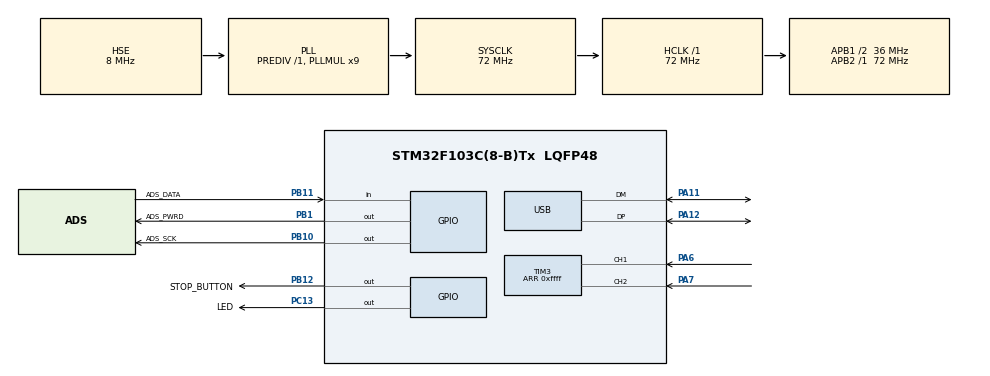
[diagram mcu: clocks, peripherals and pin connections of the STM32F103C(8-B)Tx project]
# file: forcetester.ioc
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FREERTOS.Queues01=startStopEventQueue,8,StartStopEvent,NULL,Dynamic,NULL,NULL
FREERTOS.Tasks01=ledTask,0,128,ledDefaultTask,Default,NULL,Dynamic,NULL,NULL;adsPooling,0,256,adsTask,Default,NULL,Dynamic,NULL,NULL;stopDiffDetect,0,128,stopDiffDetectButtonTask,Default,NULL,Dynamic,NULL,NULL;strtStpLinDetec,0,128,startStopLinearDetectTask,Default,NULL,Dynamic,NULL,NULL;serialOutput,0,256,serialOutputTask,Default,NULL,Dynamic,NULL,NULL;relayClickTask,0,128,relayTask,Default,NULL,Dynamic,NULL,NULL
FREERTOS.configTOTAL_HEAP_SIZE=6000
Mcu.Family=STM32F1
Mcu.Name=STM32F103C(8-B)Tx
Mcu.Package=LQFP48
NVIC.PriorityGroup=NVIC_PRIORITYGROUP_4
NVIC.TIM2_IRQn=true\:0\:0\:false\:false\:true\:false
NVIC.TIM3_IRQn=true\:6\:0\:true\:false\:true\:true
NVIC.TimeBase=TIM2_IRQn
NVIC.TimeBaseIP=TIM2
NVIC.USB_HP_CAN1_TX_IRQn=true\:5\:0\:false\:false\:true\:true
NVIC.USB_LP_CAN1_RX0_IRQn=true\:5\:0\:false\:false\:true\:true
PA11.Mode=Device
PA11.Signal=USB_DM
PA12.Mode=Device
PA12.Signal=USB_DP
PA13.Mode=Serial_Wire
PA13.Signal=SYS_JTMS-SWDIO
PA14.Mode=Serial_Wire
PA14.Signal=SYS_JTCK-SWCLK
PA6.GPIO_PuPd=GPIO_PULLUP
PA6.Signal=S_TIM3_CH1
PA7.GPIO_PuPd=GPIO_PULLUP
PA7.Signal=S_TIM3_CH2
PB1.GPIO_Label=ADS_PWRD
PB1.GPIO_Speed=GPIO_SPEED_FREQ_HIGH
PB1.PinState=GPIO_PIN_RESET
PB1.Signal=GPIO_Output
PB10.GPIO_Label=ADS_SCK
PB10.GPIO_Speed=GPIO_SPEED_FREQ_HIGH
PB10.Signal=GPIO_Output
PB11.GPIO_Label=ADS_DATA
PB11.GPIO_PuPd=GPIO_PULLUP
PB11.Signal=GPIO_Input
PB12.GPIO_Label=STOP_BUTTON
PB12.GPIO_Speed=GPIO_SPEED_FREQ_HIGH
PB12.Signal=GPIO_Output
PC13-TAMPER-RTC.GPIO_Label=LED
PC13-TAMPER-RTC.GPIO_Speed=GPIO_SPEED_FREQ_HIGH
PC13-TAMPER-RTC.Signal=GPIO_Output
PD0-OSC_IN.Mode=HSE-External-Oscillator
PD0-OSC_IN.Signal=RCC_OSC_IN
PD1-OSC_OUT.Mode=HSE-External-Oscillator
PD1-OSC_OUT.Signal=RCC_OSC_OUT
ProjectManager.HeapSize=0x200
ProjectManager.StackSize=0x400
ProjectManager.TargetToolchain=TrueSTUDIO
RCC.AHBFreq_Value=72000000
RCC.APB1CLKDivider=RCC_HCLK_DIV2
RCC.APB1Freq_Value=36000000
RCC.APB1TimFreq_Value=72000000
RCC.APB2Freq_Value=72000000
RCC.APB2TimFreq_Value=72000000
RCC.HCLKFreq_Value=72000000
RCC.PLLMUL=RCC_PLL_MUL9
RCC.SYSCLKFreq_VALUE=72000000
RCC.SYSCLKSource=RCC_SYSCLKSOURCE_PLLCLK
RCC.USBFreq_Value=48000000
RCC.USBPrescaler=RCC_USBCLKSOURCE_PLL_DIV1_5
RCC.VDD_VALUE=3.3
SH.S_TIM3_CH1.0=TIM3_CH1,Encoder_Interface
SH.S_TIM3_CH2.0=TIM3_CH2,Encoder_Interface
TIM3.EncoderMode=TIM_ENCODERMODE_TI12
TIM3.IC1Polarity=TIM_ICPOLARITY_FALLING
TIM3.IC2Polarity=TIM_ICPOLARITY_FALLING
TIM3.Period=0xffff
USB.ep0_mps=DEP0CTL_MPS_16
USB_DEVICE.CLASS_NAME_FS=CDC
USB_DEVICE.MANUFACTURER_STRING-CDC_FS=by S.D.
USB_DEVICE.PRODUCT_STRING_CDC_FS=Force Tester
USB_DEVICE.USBD_CDC_INTERVAL-CDC_FS=500
USB_DEVICE.VirtualModeFS=Cdc_FS
VP_FREERTOS_VS_ENABLE.Mode=Enabled
VP_SYS_VS_tim2.Mode=TIM2
VP_USB_DEVICE_VS_USB_DEVICE_CDC_FS.Mode=CDC_FS
board=forcetester

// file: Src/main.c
/**
  ******************************************************************************
  * File Name          : main.c
  * Description        : Main program body
  ******************************************************************************
  *
  * Copyright (c) 2017 STMicroelectronics International N.V.
  * All rights reserved.
  *
  * Redistribution and use in source and binary forms, with or without
  * modification, are permitted, provided that the following conditions are met:
  *
  * 1. Redistribution of source code must retain the above copyright notice,
  *    this list of conditions and the following disclaimer.
  * 2. Redistributions in binary form must reproduce the above copyright notice,
  *    this list of conditions and the following disclaimer in the documentation
  *    and/or other materials provided with the distribution.
  * 3. Neither the name of STMicroelectronics nor the names of other
  *    contributors to this software may be used to endorse or promote products
  *    derived from this software without specific written permission.
  * 4. This software, including modifications and/or derivative works of this
  *    software, must execute solely and exclusively on microcontroller or
  *    microprocessor devices manufactured by or for STMicroelectronics.
  * 5. Redistribution and use of this software other than as permitted under
  *    this license is void and will automatically terminate your rights under
  *    this license.
  *
  * THIS SOFTWARE IS PROVIDED BY STMICROELECTRONICS AND CONTRIBUTORS "AS IS"
  * AND ANY EXPRESS, IMPLIED OR STATUTORY WARRANTIES, INCLUDING, BUT NOT
  * LIMITED TO, THE IMPLIED WARRANTIES OF MERCHANTABILITY, FITNESS FOR A
  * PARTICULAR PURPOSE AND NON-INFRINGEMENT OF THIRD PARTY INTELLECTUAL PROPERTY
  * RIGHTS ARE DISCLAIMED TO THE FULLEST EXTENT PERMITTED BY LAW. IN NO EVENT
  * SHALL STMICROELECTRONICS OR CONTRIBUTORS BE LIABLE FOR ANY DIRECT, INDIRECT,
  * INCIDENTAL, SPECIAL, EXEMPLARY, OR CONSEQUENTIAL DAMAGES (INCLUDING, BUT NOT
  * LIMITED TO, PROCUREMENT OF SUBSTITUTE GOODS OR SERVICES; LOSS OF USE, DATA,
  * OR PROFITS; OR BUSINESS INTERRUPTION) HOWEVER CAUSED AND ON ANY THEORY OF
  * LIABILITY, WHETHER IN CONTRACT, STRICT LIABILITY, OR TORT (INCLUDING
  * NEGLIGENCE OR OTHERWISE) ARISING IN ANY WAY OUT OF THE USE OF THIS SOFTWARE,
  * EVEN IF ADVISED OF THE POSSIBILITY OF SUCH DAMAGE.
  *
  ******************************************************************************
  */
#include "main.h"
#include "stm32f1xx_hal.h"
#include "cmsis_os.h"
#include "usb_device.h"

/* USER CODE BEGIN Includes */
#include "usbd_cdc_if.h"
#include "stdbool.h"
#include "ads1232.h"
/* USER CODE END Includes */

TIM_HandleTypeDef htim3;

osThreadId ledTaskHandle;
osThreadId adsPoolingHandle;
osThreadId stopDiffDetectHandle;
osThreadId strtStpLinDetecHandle;
osThreadId serialOutputHandle;
osThreadId relayClickTaskHandle;
osMessageQId startStopEventQueueHandle;

/* USER CODE BEGIN PV */
osMailQId mainDataSerialQueueHandle;
osMailQId mainDataDiffDetectQueueHandle;

/* Private variables ---------------------------------------------------------*/

typedef struct{
    int32_t load;
    int16_t pos;
}MainData;

typedef enum{
    StopEvent = 35,
    StartEvent = 78
} StartStopEvent;

#define ENCODER_VAL ((int16_t)htim3.Instance->CNT)

/*   Settings   */
#define TARE_TIMES 250
#define STOP_DIFF_THRESHOLD 3000
#define STARTSTOP_THRESHOLD 4

/* USER CODE END PV */

void SystemClock_Config(void);
void Error_Handler(void);
static void MX_GPIO_Init(void);
static void MX_TIM3_Init(void);
void ledDefaultTask(void const * argument);
void adsTask(void const * argument);
void stopDiffDetectButtonTask(void const * argument);
void startStopLinearDetectTask(void const * argument);
void serialOutputTask(void const * argument);
void relayTask(void const * argument);

/* USER CODE BEGIN PFP */
/* Private function prototypes -----------------------------------------------*/

/* USER CODE END PFP */

int main(void)
{

    /* MCU Configuration----------------------------------------------------------*/

    /* Reset of all peripherals, Initializes the Flash interface and the Systick. */
    HAL_Init();

    /* Configure the system clock */
    SystemClock_Config();

    /* Initialize all configured peripherals */
    MX_GPIO_Init();
    MX_TIM3_Init();

    /* USER CODE BEGIN 2 */
    /* init code for USB_DEVICE */
    HAL_Delay(10);
    MX_USB_DEVICE_Init();
    HAL_Delay(50);
    HAL_GPIO_WritePin(ADS_PWRD_GPIO_Port, ADS_PWRD_Pin, GPIO_PIN_SET);
    HAL_TIM_Encoder_Start_IT(&htim3, TIM_CHANNEL_ALL);
    /* USER CODE END 2 */

    /* Create the thread(s) */
    /* definition and creation of ledTask */
    osThreadDef(ledTask, ledDefaultTask, osPriorityNormal, 0, 128);
    ledTaskHandle = osThreadCreate(osThread(ledTask), NULL);

    /* definition and creation of adsPooling */
    osThreadDef(adsPooling, adsTask, osPriorityNormal, 0, 256);
    adsPoolingHandle = osThreadCreate(osThread(adsPooling), NULL);

    /* definition and creation of stopDiffDetect */
    osThreadDef(stopDiffDetect, stopDiffDetectButtonTask, osPriorityNormal, 0, 128);
    stopDiffDetectHandle = osThreadCreate(osThread(stopDiffDetect), NULL);

    /* definition and creation of strtStpLinDetec */
    osThreadDef(strtStpLinDetec, startStopLinearDetectTask, osPriorityNormal, 0, 128);
    strtStpLinDetecHandle = osThreadCreate(osThread(strtStpLinDetec), NULL);

    /* definition and creation of serialOutput */
    osThreadDef(serialOutput, serialOutputTask, osPriorityNormal, 0, 256);
    serialOutputHandle = osThreadCreate(osThread(serialOutput), NULL);

    /* definition and creation of relayClickTask */
    osThreadDef(relayClickTask, relayTask, osPriorityNormal, 0, 128);
    relayClickTaskHandle = osThreadCreate(osThread(relayClickTask), NULL);

    /* Create the queue(s) */
    /* definition and creation of startStopEventQueue */
    osMessageQDef(startStopEventQueue, 8, StartStopEvent);
    startStopEventQueueHandle = osMessageCreate(osMessageQ(startStopEventQueue), NULL);

    /* USER CODE BEGIN RTOS_QUEUES */
    /* add queues, ... */

    /* definition and creation of mainDataSerialQueue */
    osMailQDef(mainDataSerialQueue, 16, MainData);
    mainDataSerialQueueHandle = osMailCreate(osMailQ(mainDataSerialQueue), NULL);

    /* definition and creation of mainDataDiffDetectQueue */
    osMailQDef(mainDataDiffDetectQueue, 16, MainData);
    mainDataDiffDetectQueueHandle = osMailCreate(osMailQ(mainDataDiffDetectQueue), NULL);

    /* USER CODE END RTOS_QUEUES */

    /* Start scheduler */
    osKernelStart();

    /* We should never get here as control is now taken by the scheduler */

    /* Infinite loop */
    while (1)
    {

    }

}

/** System Clock Configuration
*/
void SystemClock_Config(void)
{

    RCC_OscInitTypeDef RCC_OscInitStruct;
    RCC_ClkInitTypeDef RCC_ClkInitStruct;
    RCC_PeriphCLKInitTypeDef PeriphClkInit;

    /**Initializes the CPU, AHB and APB busses clocks
    */
    RCC_OscInitStruct.OscillatorType = RCC_OSCILLATORTYPE_HSE;
    RCC_OscInitStruct.HSEState = RCC_HSE_ON;
    RCC_OscInitStruct.HSEPredivValue = RCC_HSE_PREDIV_DIV1;
    RCC_OscInitStruct.HSIState = RCC_HSI_ON;
    RCC_OscInitStruct.PLL.PLLState = RCC_PLL_ON;
    RCC_OscInitStruct.PLL.PLLSource = RCC_PLLSOURCE_HSE;
    RCC_OscInitStruct.PLL.PLLMUL = RCC_PLL_MUL9;
    if (HAL_RCC_OscConfig(&RCC_OscInitStruct) != HAL_OK)
    {
        Error_Handler();
    }

    /**Initializes the CPU, AHB and APB busses clocks
    */
    RCC_ClkInitStruct.ClockType = RCC_CLOCKTYPE_HCLK|RCC_CLOCKTYPE_SYSCLK
            |RCC_CLOCKTYPE_PCLK1|RCC_CLOCKTYPE_PCLK2;
    RCC_ClkInitStruct.SYSCLKSource = RCC_SYSCLKSOURCE_PLLCLK;
    RCC_ClkInitStruct.AHBCLKDivider = RCC_SYSCLK_DIV1;
    RCC_ClkInitStruct.APB1CLKDivider = RCC_HCLK_DIV2;
    RCC_ClkInitStruct.APB2CLKDivider = RCC_HCLK_DIV1;

    if (HAL_RCC_ClockConfig(&RCC_ClkInitStruct, FLASH_LATENCY_2) != HAL_OK)
    {
        Error_Handler();
    }

    PeriphClkInit.PeriphClockSelection = RCC_PERIPHCLK_USB;
    PeriphClkInit.UsbClockSelection = RCC_USBCLKSOURCE_PLL_DIV1_5;
    if (HAL_RCCEx_PeriphCLKConfig(&PeriphClkInit) != HAL_OK)
    {
        Error_Handler();
    }

    /**Configure the Systick interrupt time
    */
    HAL_SYSTICK_Config(HAL_RCC_GetHCLKFreq()/1000);

    /**Configure the Systick
    */
    HAL_SYSTICK_CLKSourceConfig(SYSTICK_CLKSOURCE_HCLK);

    /* SysTick_IRQn interrupt configuration */
    HAL_NVIC_SetPriority(SysTick_IRQn, 15, 0);
}

/* TIM3 init function */
static void MX_TIM3_Init(void)
{

    TIM_Encoder_InitTypeDef sConfig;
    TIM_MasterConfigTypeDef sMasterConfig;

    htim3.Instance = TIM3;
    htim3.Init.Prescaler = 0;
    htim3.Init.CounterMode = TIM_COUNTERMODE_UP;
    htim3.Init.Period = 0xffff;
    htim3.Init.ClockDivision = TIM_CLOCKDIVISION_DIV1;
    sConfig.EncoderMode = TIM_ENCODERMODE_TI12;
    sConfig.IC1Polarity = TIM_ICPOLARITY_FALLING;
    sConfig.IC1Selection = TIM_ICSELECTION_DIRECTTI;
    sConfig.IC1Prescaler = TIM_ICPSC_DIV1;
    sConfig.IC1Filter = 0;
    sConfig.IC2Polarity = TIM_ICPOLARITY_FALLING;
    sConfig.IC2Selection = TIM_ICSELECTION_DIRECTTI;
    sConfig.IC2Prescaler = TIM_ICPSC_DIV1;
    sConfig.IC2Filter = 0;
    if (HAL_TIM_Encoder_Init(&htim3, &sConfig) != HAL_OK)
    {
        Error_Handler();
    }

    sMasterConfig.MasterOutputTrigger = TIM_TRGO_RESET;
    sMasterConfig.MasterSlaveMode = TIM_MASTERSLAVEMODE_DISABLE;
    if (HAL_TIMEx_MasterConfigSynchronization(&htim3, &sMasterConfig) != HAL_OK)
    {
        Error_Handler();
    }

}

/** Configure pins as
        * Analog
        * Input
        * Output
        * EVENT_OUT
        * EXTI
*/
static void MX_GPIO_Init(void)
{

    GPIO_InitTypeDef GPIO_InitStruct;

    /* GPIO Ports Clock Enable */
    __HAL_RCC_GPIOC_CLK_ENABLE();
    __HAL_RCC_GPIOD_CLK_ENABLE();
    __HAL_RCC_GPIOA_CLK_ENABLE();
    __HAL_RCC_GPIOB_CLK_ENABLE();

    /*Configure GPIO pin Output Level */
    HAL_GPIO_WritePin(LED_GPIO_Port, LED_Pin, GPIO_PIN_RESET);

    /*Configure GPIO pin Output Level */
    HAL_GPIO_WritePin(GPIOB, ADS_PWRD_Pin|ADS_SCK_Pin|STOP_BUTTON_Pin, GPIO_PIN_RESET);

    /*Configure GPIO pin : LED_Pin */
    GPIO_InitStruct.Pin = LED_Pin;
    GPIO_InitStruct.Mode = GPIO_MODE_OUTPUT_PP;
    GPIO_InitStruct.Speed = GPIO_SPEED_FREQ_HIGH;
    HAL_GPIO_Init(LED_GPIO_Port, &GPIO_InitStruct);

    /*Configure GPIO pins : ADS_PWRD_Pin ADS_SCK_Pin STOP_BUTTON_Pin */
    GPIO_InitStruct.Pin = ADS_PWRD_Pin|ADS_SCK_Pin|STOP_BUTTON_Pin;
    GPIO_InitStruct.Mode = GPIO_MODE_OUTPUT_PP;
    GPIO_InitStruct.Speed = GPIO_SPEED_FREQ_HIGH;
    HAL_GPIO_Init(GPIOB, &GPIO_InitStruct);

    /*Configure GPIO pin : ADS_DATA_Pin */
    GPIO_InitStruct.Pin = ADS_DATA_Pin;
    GPIO_InitStruct.Mode = GPIO_MODE_INPUT;
    GPIO_InitStruct.Pull = GPIO_PULLUP;
    HAL_GPIO_Init(ADS_DATA_GPIO_Port, &GPIO_InitStruct);

}

/* ledDefaultTask function */
void ledDefaultTask(void const * argument)
{
    /* USER CODE BEGIN 5 */
    /* Infinite loop */
    for(;;)
    {
        HAL_GPIO_TogglePin(LED_GPIO_Port, LED_Pin);
        osDelay(150);
    }
    /* USER CODE END 5 */
}

/* adsTask function */
void adsTask(void const * argument)
{
    /* USER CODE BEGIN adsTask */

    ADS123x ads1232 = {ADS_SCK_GPIO_Port, ADS_DATA_GPIO_Port,
                       ADS_SCK_Pin, ADS_DATA_Pin, 0, true};
    ADS_Init(&ads1232);
    ADS_Tare(&ads1232, TARE_TIMES);

    /* Infinite loop */
    for(;;)
    {
        int32_t load = ADS_Value(&ads1232);
        int16_t pos = ENCODER_VAL;

        MainData * serialMsg = (MainData*)osMailAlloc(mainDataSerialQueueHandle, 0);
        serialMsg->load = load;
        serialMsg->pos = pos;
        osMailPut(mainDataSerialQueueHandle, serialMsg);

        MainData * diffMsg = (MainData*)osMailAlloc(mainDataDiffDetectQueueHandle, 0);
        diffMsg->load = load;
        diffMsg->pos = pos;
        osMailPut(mainDataDiffDetectQueueHandle, diffMsg);
    }
    /* USER CODE END adsTask */
}

/* stopDiffDetectButtonTask function */
void stopDiffDetectButtonTask(void const * argument)
{
    /* USER CODE BEGIN stopDiffDetectButtonTask */
    /* Infinite loop */

    int32_t lastVal = 0;
    for(;;)
    {
        osEvent msg = osMailGet(mainDataDiffDetectQueueHandle, osWaitForever);
        if(msg.status == osEventMail)
            if((((MainData*)msg.value.p)->load - lastVal) > STOP_DIFF_THRESHOLD)
                osSignalSet(relayClickTaskHandle, 0x01);
        osMailFree(mainDataDiffDetectQueueHandle, msg.value.p);
    }
    /* USER CODE END stopDiffDetectButtonTask */
}

/* startStopLinearDetectTask function */
void startStopLinearDetectTask(void const * argument)
{
    /* USER CODE BEGIN startStopLinearDetectTask */
    /* Infinite loop */
    for(;;)
    {
        osMessagePut(startStopEventQueueHandle, StartEvent, 0);
        osDelay(1000);
        osMessagePut(startStopEventQueueHandle, StopEvent, 0);
        osDelay(2000);/**/
    }
    /* USER CODE END startStopLinearDetectTask */
}

/* serialOutputTask function */
void serialOutputTask(void const * argument)
{
    /* USER CODE BEGIN serialOutputTask */

    /* Infinite loop */
    for(;;)
    {
        osEvent msg = osMailGet(mainDataSerialQueueHandle, 0);
        if(msg.status == osEventMail){
            char buff[30];
            sprintf(buff, "!sd/66|%ld|%d\\\r\n", ((MainData*)msg.value.p)->load, ((MainData*)msg.value.p)->pos);
            CDC_Transmit_FS((uint8_t*)buff, strlen(buff));
        }
        osMailFree(mainDataSerialQueueHandle, msg.value.p);

        msg = osMessageGet(startStopEventQueueHandle, 0);
        if(msg.status == osEventMessage){
            StartStopEvent event = msg.value.v;
            switch (event) {
            case StartEvent :
                CDC_Transmit_FS((uint8_t*)"!sd/12\\\r\n", 9);
                break;
            case StopEvent :
                CDC_Transmit_FS((uint8_t*)"!sd/13\\\r\n", 9);
                break;
            }
        }
    }
    /* USER CODE END serialOutputTask */
}

/* relayTask function */
void relayTask(void const * argument)
{
    /* USER CODE BEGIN relayTask */
    /* Infinite loop */
    for(;;)
    {
        osSignalWait (0x01, osWaitForever);
        HAL_GPIO_WritePin(STOP_BUTTON_GPIO_Port, STOP_BUTTON_Pin, GPIO_PIN_SET);
        osDelay(100);
        HAL_GPIO_WritePin(STOP_BUTTON_GPIO_Port, STOP_BUTTON_Pin, GPIO_PIN_RESET);
    }
    /* USER CODE END relayTask */
}

void HAL_TIM_PeriodElapsedCallback(TIM_HandleTypeDef *htim)
{
    if (htim->Instance == TIM2) {
        HAL_IncTick();
    }
}

void Error_Handler(void)
{
    while(1)
    {
    }
}

/************************ (C) COPYRIGHT STMicroelectronics *****END OF FILE****/
